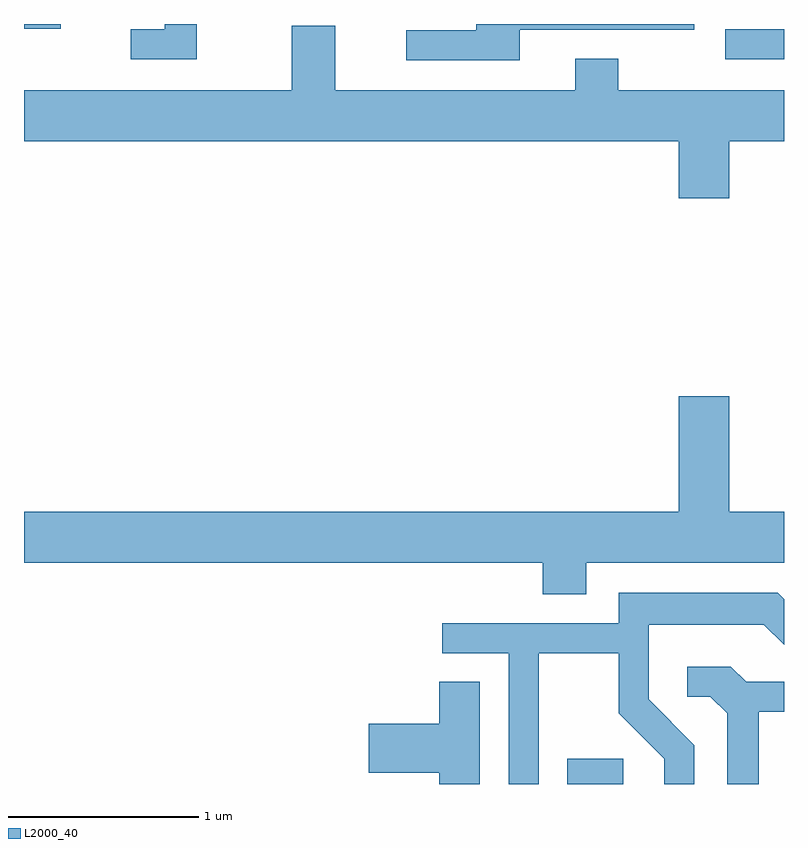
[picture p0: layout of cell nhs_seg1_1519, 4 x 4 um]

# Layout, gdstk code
import gdstk
lib = gdstk.Library(unit=1e-6, precision=1e-09)
def R(c, l, rs):  # rectangles x0, y0, x1, y1
    for r in rs: c.add(gdstk.rectangle(r[:2], r[2:], *l))
def P(c, l, *ps):  # polygons
    for p in ps: c.add(gdstk.Polygon(p, *l))
L2000_40 = (2000, 40)

nhs_seg1_1519 = lib.new_cell('nhs_seg1_1519')
R(nhs_seg1_1519, L2000_40, [(234.471,931.712,234.764,931.844), (235.303,935.526,235.611,935.684), (231.611,935.686,231.804,935.712)])
P(nhs_seg1_1519, L2000_40, [(232.519,935.712),(232.351,935.712),(232.351,935.684),(232.173,935.684),(232.173,935.526),(232.519,935.526)],
  [(234.219,935.681),(235.139,935.681),(235.139,935.712),(233.991,935.712),(233.991,935.679),(233.623,935.679),(233.623,935.521),(234.219,935.521)],
  [(235.324,935.096),(235.611,935.096),(235.611,935.364),(234.739,935.364),(234.739,935.529),(234.511,935.529),(234.511,935.364),(233.249,935.364),(233.249,935.704),(233.021,935.704),(233.021,935.364),(231.611,935.364),(231.611,935.096),(235.056,935.096),(235.056,934.796),(235.324,934.796)],
  [(234.569,932.876),(235.611,932.876),(235.611,933.144),(235.324,933.144),(235.324,933.754),(235.056,933.754),(235.056,933.144),(231.611,933.144),(231.611,932.876),(234.341,932.876),(234.341,932.711),(234.569,932.711)],
  [(234.319,932.401),(234.741,932.401),(234.741,932.084),(234.981,931.844),(234.981,931.712),(235.139,931.712),(235.139,931.917),(234.899,932.157),(234.899,932.551),(235.504,932.551),(235.611,932.444),(235.611,932.685),(235.577,932.719),(234.741,932.719),(234.741,932.559),(233.813,932.559),(233.813,932.401),(234.161,932.401),(234.161,931.712),(234.319,931.712)],
  [(235.479,932.091),(235.611,932.091),(235.611,932.249),(235.412,932.249),(235.332,932.329),(235.103,932.329),(235.103,932.171),(235.224,932.171),(235.311,932.084),(235.311,931.712),(235.479,931.712)],
  [(234.009,932.249),(233.796,932.249),(233.796,932.029),(233.426,932.029),(233.426,931.771),(233.796,931.771),(233.796,931.712),(234.009,931.712)])

lib.write_gds('nhs_seg1_1519.gds')
